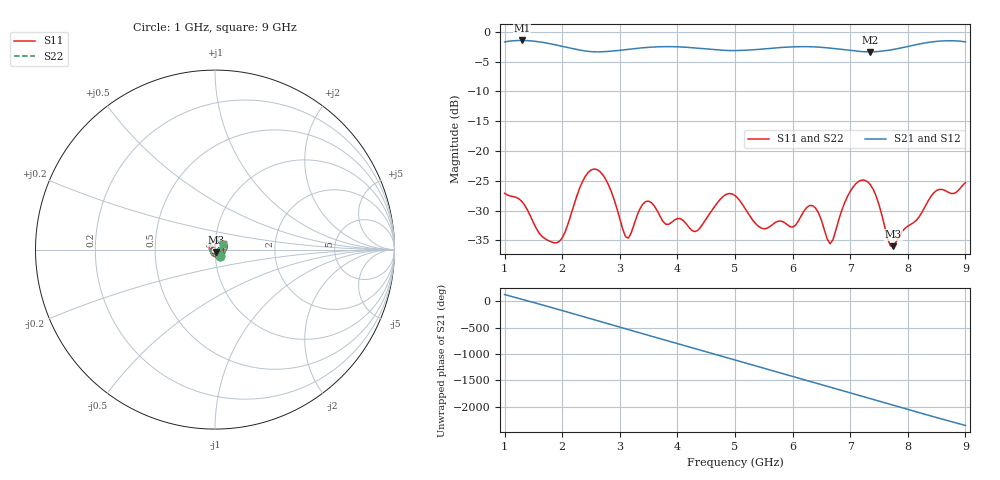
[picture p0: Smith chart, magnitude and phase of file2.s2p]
! Created Mon May 20 11:15:58 2013
# ghz S ma R 50
! 2 Port Network Data from SP1.SP block
! freq  magS11  angS11  magS21  angS21  magS12  angS12  magS22  angS22
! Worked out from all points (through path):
!   161 points, 1 GHz to 9 GHz, reference 50 ohm
!   highest |S21| = -1.47 dB at 1.3 GHz (marker M1); lowest = -3.4 dB at 7.35 GHz (marker M2)
!   lowest |S11| = -36.0 dB at 7.75 GHz (marker M3), VSWR 1.03, Z = 50.7 - j1.43 ohm
!   |S11| at or under -10 dB: start of sweep to end of sweep
!   |S22| runs from -36.0 to -23.0 dB; largest |S21 - S12| = 0
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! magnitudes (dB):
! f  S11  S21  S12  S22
! 1 GHz  -27.1  -1.7  -1.7  -27.1
! 1.3 GHz  -28.5  -1.5  -1.5  -28.5
! 1.6 GHz  -33.8  -1.7  -1.7  -33.8
! 1.9 GHz  -35.4  -2.2  -2.2  -35.4
! 2.35 GHz  -25.2  -3.2  -3.2  -25.2
! 2.7 GHz  -23.9  -3.4  -3.4  -23.9
! 3.15 GHz  -34.6  -3.0  -3.0  -34.6
! 3.45 GHz  -28.5  -2.7  -2.7  -28.5
! 3.7 GHz  -31.0  -2.5  -2.5  -31.0
! 4.3 GHz  -33.5  -2.7  -2.7  -33.5
! 4.8 GHz  -27.6  -3.1  -3.1  -27.6
! 5 GHz  -27.5  -3.2  -3.2  -27.5
! 5.5 GHz  -33.1  -2.9  -2.9  -33.1
! 6 GHz  -32.8  -2.5  -2.5  -32.8
! 6.35 GHz  -29.2  -2.5  -2.5  -29.2
! 6.65 GHz  -35.6  -2.7  -2.7  -35.6
! 7.05 GHz  -26.1  -3.2  -3.2  -26.1
! 7.35 GHz  -25.7  -3.4  -3.4  -25.7
! 7.7 GHz  -35.9  -3.1  -3.1  -35.9
! 7.75 GHz  -36.0  -3.0  -3.0  -36.0
! 8.45 GHz  -27.0  -1.7  -1.7  -27.0
! 9 GHz  -25.3  -1.7  -1.7  -25.3
